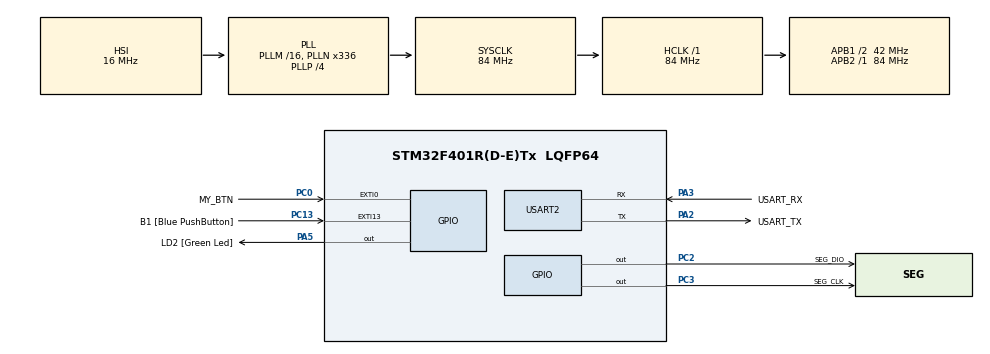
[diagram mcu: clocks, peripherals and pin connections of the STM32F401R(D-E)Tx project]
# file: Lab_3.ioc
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Mcu.Family=STM32F4
Mcu.Name=STM32F401R(D-E)Tx
Mcu.Package=LQFP64
NVIC.EXTI0_IRQn=true\:0\:0\:false\:false\:true\:true\:true\:true
NVIC.PriorityGroup=NVIC_PRIORITYGROUP_0
NVIC.TIM1_UP_TIM10_IRQn=true\:0\:0\:false\:false\:true\:true\:true\:true
PA13.GPIO_Label=TMS
PA13.Mode=Serial_Wire
PA13.Signal=SYS_JTMS-SWDIO
PA14.GPIO_Label=TCK
PA14.Mode=Serial_Wire
PA14.Signal=SYS_JTCK-SWCLK
PA2.GPIO_Label=USART_TX
PA2.GPIO_Mode=GPIO_MODE_AF_PP
PA2.GPIO_PuPd=GPIO_NOPULL
PA2.GPIO_Speed=GPIO_SPEED_FREQ_LOW
PA2.Mode=Asynchronous
PA2.Signal=USART2_TX
PA3.GPIO_Label=USART_RX
PA3.GPIO_Mode=GPIO_MODE_AF_PP
PA3.GPIO_PuPd=GPIO_NOPULL
PA3.GPIO_Speed=GPIO_SPEED_FREQ_LOW
PA3.Mode=Asynchronous
PA3.Signal=USART2_RX
PA5.GPIO_Label=LD2 [Green Led]
PA5.GPIO_Mode=GPIO_MODE_OUTPUT_PP
PA5.GPIO_PuPd=GPIO_NOPULL
PA5.GPIO_Speed=GPIO_SPEED_FREQ_LOW
PA5.Signal=GPIO_Output
PB3.GPIO_Label=SWO
PB3.Signal=SYS_JTDO-SWO
PC0.GPIO_Label=MY_BTN
PC0.GPIO_ModeDefaultEXTI=GPIO_MODE_IT_FALLING
PC0.Signal=GPXTI0
PC13-ANTI_TAMP.GPIO_Label=B1 [Blue PushButton]
PC13-ANTI_TAMP.GPIO_ModeDefaultEXTI=GPIO_MODE_IT_FALLING
PC13-ANTI_TAMP.GPIO_PuPd=GPIO_NOPULL
PC13-ANTI_TAMP.Signal=GPXTI13
PC14-OSC32_IN.Mode=LSE-External-Oscillator
PC14-OSC32_IN.Signal=RCC_OSC32_IN
PC15-OSC32_OUT.Mode=LSE-External-Oscillator
PC15-OSC32_OUT.Signal=RCC_OSC32_OUT
PC2.GPIO_Label=SEG_DIO
PC2.GPIO_ModeDefaultOutputPP=GPIO_MODE_OUTPUT_OD
PC2.GPIO_PuPd=GPIO_NOPULL
PC2.Signal=GPIO_Output
PC3.GPIO_Label=SEG_CLK
PC3.Signal=GPIO_Output
PH0\ -\ OSC_IN.Mode=HSE-External-Clock-Source
PH0\ -\ OSC_IN.Signal=RCC_OSC_IN
PH1\ -\ OSC_OUT.Mode=HSE-External-Clock-Source
PH1\ -\ OSC_OUT.Signal=RCC_OSC_OUT
ProjectManager.HeapSize=0x200
ProjectManager.StackSize=0x400
ProjectManager.TargetToolchain=STM32CubeIDE
RCC.48MHZClocksFreq_Value=48000000
RCC.AHBFreq_Value=84000000
RCC.APB1CLKDivider=RCC_HCLK_DIV2
RCC.APB1Freq_Value=42000000
RCC.APB1TimFreq_Value=84000000
RCC.APB2Freq_Value=84000000
RCC.APB2TimFreq_Value=84000000
RCC.CortexFreq_Value=84000000
RCC.HCLKFreq_Value=84000000
RCC.HSE_VALUE=8000000
RCC.HSI_VALUE=16000000
RCC.PLLN=336
RCC.PLLP=RCC_PLLP_DIV4
RCC.PLLQ=7
RCC.SYSCLKFreq_VALUE=84000000
RCC.SYSCLKSource=RCC_SYSCLKSOURCE_PLLCLK
RCC.VCOOutputFreq_Value=336000000
TIM1.Period=1000-1
TIM1.Prescaler=42000-1
USART2.VirtualMode=VM_ASYNC
VP_TIM1_VS_ClockSourceINT.Mode=Internal
board=NUCLEO-F401RE

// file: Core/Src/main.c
/* USER CODE BEGIN Header */
/**
  ******************************************************************************
  * @file           : main.c
  * @brief          : Main program body
  ******************************************************************************
  * @attention
  *
  * Copyright (c) 2024 STMicroelectronics.
  * All rights reserved.
  *
  * This software is licensed under terms that can be found in the LICENSE file
  * in the root directory of this software component.
  * If no LICENSE file comes with this software, it is provided AS-IS.
  *
  ******************************************************************************
  */
/* USER CODE END Header */
#include "main.h"

/* USER CODE BEGIN Includes */
#include <stdio.h>
#include "quad_sseg.h"
#include <string.h>
/* USER CODE END Includes */

/* USER CODE BEGIN PD */
void uart_print_menu();
int uart_get_menu_choice();
void uart_print_bad_choice();
void clock_mode();
void button_mode();
void update_time_display();
/* USER CODE END PD */

TIM_HandleTypeDef htim1;

UART_HandleTypeDef huart2;

/* USER CODE BEGIN PV */
//uint16_t button_exti_count;
//uint16_t button_debounced_count;
///int unhandled_exti;
uint16_t button_exti_count;
uint16_t button_debounced_count;
uint16_t bounce_count = 0;
int unhandled_exti = 0;
int button_pressed = 0;
uint32_t last_button_press_time = 0;
#define DEBOUNCE_TIME_MS 50 // Max studstid mätt med oscilloskopet
int b1_pressed;

//För timers
// Globala variabler för tid
uint8_t hours = 23;
uint8_t minutes = 59;
uint8_t seconds = 45;
uint8_t half_second_flag = 0;
uint8_t show_hours_mode = 0;
/* USER CODE END PV */

void SystemClock_Config(void);
static void MX_GPIO_Init(void);
static void MX_USART2_UART_Init(void);
static void MX_TIM1_Init(void);

/* USER CODE BEGIN 0 */
void uart_print_menu()
{
	char str[100];
	//uint16_t str_len = 0;

	 sprintf(str,
			"WELCOME TO MENU\r\n "
			"Choose your configuration:\r\n "
			"1. Clock mode.\r\n "
			"2. Button mode\r\n");
	HAL_UART_Transmit(&huart2, (uint8_t*) str, strlen(str), HAL_MAX_DELAY);

	/*printf("WELCOME TO MENU\n");
	printf("Choose your configuration:\n");*/

}

int uart_get_menu_choice()
{
	char str[1] = { '\0' };
	uint16_t str_len = 1;
	HAL_UART_Receive(&huart2, (uint8_t*) str, str_len, HAL_MAX_DELAY);
	int ret = -1;
	sscanf(str, "%d", &ret);

	return ret;
}

void uart_print_bad_choice()
{
	char str[100];

	sprintf(str, "BAD CHOICE!!!\r\n");
	HAL_UART_Transmit(&huart2, (uint8_t*) str, strlen(str), HAL_MAX_DELAY);
}

void clock_mode()
{
    /*** Initieringssegment ***/
    // Starta timern med avbrott
    HAL_TIM_Base_Start_IT(&htim1);

    while (1)
    {

        if (HAL_GPIO_ReadPin(B1_GPIO_Port, B1_Pin) == GPIO_PIN_RESET)
        {
            show_hours_mode = 1;
        }
        else
        {
            show_hours_mode = 0;
        }

        //update
        update_time_display();
    }
}

void HAL_TIM_PeriodElapsedCallback( TIM_HandleTypeDef *htim)
{
    if (htim->Instance == TIM1)
    {
        half_second_flag = !half_second_flag;

        if (half_second_flag == 0)
        {
            seconds++;
            if (seconds >= 60)
            {
                seconds = 0;
                minutes++;
                if (minutes >= 60)
                {
                    minutes = 0;
                    hours++;
                    if (hours >= 24)
                    {
                        hours = 0;
                    }
                }
            }
        }
    }
}

void update_time_display(void)
{
    if (show_hours_mode)
    {
        // Visa HH:MM
        qs_put_digits(hours / 10, hours % 10, minutes / 10, minutes % 10, half_second_flag);
    }
    else
    {
        // Visa MM:SS
        qs_put_digits(minutes / 10, minutes % 10, seconds / 10, seconds % 10, half_second_flag);
    }
}

void button_mode()
{
    /*** init segment ***/
    /*** main loop ***/
    while (1)
    {
        if (unhandled_exti)
        {
            uint32_t current_time = HAL_GetTick();

            // Kontrollera om det har gått tillräckligt med tid sedan senaste knapptryck
            if ((current_time - last_button_press_time) > DEBOUNCE_TIME_MS)
            {
                button_pressed = GPIO_PIN_RESET == HAL_GPIO_ReadPin(MY_BTN_GPIO_Port, MY_BTN_Pin);

                if (button_pressed)
                {
                    button_debounced_count++;  // Räkna avstudsade tryckningar
                }
                last_button_press_time = current_time;
            }
            else
            {
                bounce_count++;  // Räkna studsar om tiden är för kort
            }

            unhandled_exti = 0;
        }

        b1_pressed = GPIO_PIN_RESET == HAL_GPIO_ReadPin(B1_GPIO_Port, B1_Pin);
        // Uppdatera displayen med antal knapptryckningar eller studsar
        if (b1_pressed)
        {
            qs_put_big_num(button_exti_count); // Visa studsar
        }
        else
        {
            qs_put_big_num(button_debounced_count); // Visa avstudsade tryckningar
        }
    }
}

void HAL_GPIO_EXTI_Callback(uint16_t GPIO_Pin)
{
	button_exti_count++;

	unhandled_exti = 1;
}

/* USER CODE END 0 */

int main(void)
{

  /* MCU Configuration--------------------------------------------------------*/

  /* Reset of all peripherals, Initializes the Flash interface and the Systick. */
  HAL_Init();

  /* Configure the system clock */
  SystemClock_Config();

  /* Initialize all configured peripherals */
  MX_GPIO_Init();
  MX_USART2_UART_Init();
  MX_TIM1_Init();
  /* USER CODE BEGIN 2 */
  for (int i=0; i<10; i++)
  {
  uint32_t dly = 250;
  qs_put_big_num(i);      			HAL_Delay(dly);
  qs_put_digits(i, i, i, i, 0); 	HAL_Delay(dly);
  qs_put_digits(i, i, i, i, 1); 	HAL_Delay(dly);
  }

  /* USER CODE END 2 */

  /* Infinite loop */
  /* USER CODE BEGIN WHILE */
  while (1)
  {
	  uart_print_menu();

	  int menu_choice = uart_get_menu_choice();
	  {
		  switch (menu_choice)
		  {
		  case 1:		clock_mode(); 		break;
		  case 2:		button_mode(); 		break;
		  default: uart_print_bad_choice();	break;
		  }
	  }

    /* USER CODE END WHILE */

  }
}

void SystemClock_Config(void)
{
  RCC_OscInitTypeDef RCC_OscInitStruct = {0};
  RCC_ClkInitTypeDef RCC_ClkInitStruct = {0};

  /** Configure the main internal regulator output voltage
  */
  __HAL_RCC_PWR_CLK_ENABLE();
  __HAL_PWR_VOLTAGESCALING_CONFIG(PWR_REGULATOR_VOLTAGE_SCALE2);

  /** Initializes the RCC Oscillators according to the specified parameters
  * in the RCC_OscInitTypeDef structure.
  */
  RCC_OscInitStruct.OscillatorType = RCC_OSCILLATORTYPE_HSI;
  RCC_OscInitStruct.HSIState = RCC_HSI_ON;
  RCC_OscInitStruct.HSICalibrationValue = RCC_HSICALIBRATION_DEFAULT;
  RCC_OscInitStruct.PLL.PLLState = RCC_PLL_ON;
  RCC_OscInitStruct.PLL.PLLSource = RCC_PLLSOURCE_HSI;
  RCC_OscInitStruct.PLL.PLLM = 16;
  RCC_OscInitStruct.PLL.PLLN = 336;
  RCC_OscInitStruct.PLL.PLLP = RCC_PLLP_DIV4;
  RCC_OscInitStruct.PLL.PLLQ = 7;
  if (HAL_RCC_OscConfig(&RCC_OscInitStruct) != HAL_OK)
  {
    Error_Handler();
  }

  /** Initializes the CPU, AHB and APB buses clocks
  */
  RCC_ClkInitStruct.ClockType = RCC_CLOCKTYPE_HCLK|RCC_CLOCKTYPE_SYSCLK
                              |RCC_CLOCKTYPE_PCLK1|RCC_CLOCKTYPE_PCLK2;
  RCC_ClkInitStruct.SYSCLKSource = RCC_SYSCLKSOURCE_PLLCLK;
  RCC_ClkInitStruct.AHBCLKDivider = RCC_SYSCLK_DIV1;
  RCC_ClkInitStruct.APB1CLKDivider = RCC_HCLK_DIV2;
  RCC_ClkInitStruct.APB2CLKDivider = RCC_HCLK_DIV1;

  if (HAL_RCC_ClockConfig(&RCC_ClkInitStruct, FLASH_LATENCY_2) != HAL_OK)
  {
    Error_Handler();
  }
}

static void MX_TIM1_Init(void)
{

  TIM_ClockConfigTypeDef sClockSourceConfig = {0};
  TIM_MasterConfigTypeDef sMasterConfig = {0};

  htim1.Instance = TIM1;
  htim1.Init.Prescaler = 42000-1;
  htim1.Init.CounterMode = TIM_COUNTERMODE_UP;
  htim1.Init.Period = 1000-1;
  htim1.Init.ClockDivision = TIM_CLOCKDIVISION_DIV1;
  htim1.Init.RepetitionCounter = 0;
  htim1.Init.AutoReloadPreload = TIM_AUTORELOAD_PRELOAD_DISABLE;
  if (HAL_TIM_Base_Init(&htim1) != HAL_OK)
  {
    Error_Handler();
  }
  sClockSourceConfig.ClockSource = TIM_CLOCKSOURCE_INTERNAL;
  if (HAL_TIM_ConfigClockSource(&htim1, &sClockSourceConfig) != HAL_OK)
  {
    Error_Handler();
  }
  sMasterConfig.MasterOutputTrigger = TIM_TRGO_RESET;
  sMasterConfig.MasterSlaveMode = TIM_MASTERSLAVEMODE_DISABLE;
  if (HAL_TIMEx_MasterConfigSynchronization(&htim1, &sMasterConfig) != HAL_OK)
  {
    Error_Handler();
  }

}

static void MX_USART2_UART_Init(void)
{

  huart2.Instance = USART2;
  huart2.Init.BaudRate = 115200;
  huart2.Init.WordLength = UART_WORDLENGTH_8B;
  huart2.Init.StopBits = UART_STOPBITS_1;
  huart2.Init.Parity = UART_PARITY_NONE;
  huart2.Init.Mode = UART_MODE_TX_RX;
  huart2.Init.HwFlowCtl = UART_HWCONTROL_NONE;
  huart2.Init.OverSampling = UART_OVERSAMPLING_16;
  if (HAL_UART_Init(&huart2) != HAL_OK)
  {
    Error_Handler();
  }

}

static void MX_GPIO_Init(void)
{
  GPIO_InitTypeDef GPIO_InitStruct = {0};

  /* GPIO Ports Clock Enable */
  __HAL_RCC_GPIOC_CLK_ENABLE();
  __HAL_RCC_GPIOH_CLK_ENABLE();
  __HAL_RCC_GPIOA_CLK_ENABLE();
  __HAL_RCC_GPIOB_CLK_ENABLE();

  /*Configure GPIO pin Output Level */
  HAL_GPIO_WritePin(GPIOC, SEG_DIO_Pin|SEG_CLK_Pin, GPIO_PIN_RESET);

  /*Configure GPIO pin Output Level */
  HAL_GPIO_WritePin(LD2_GPIO_Port, LD2_Pin, GPIO_PIN_RESET);

  /*Configure GPIO pins : B1_Pin MY_BTN_Pin */
  GPIO_InitStruct.Pin = B1_Pin|MY_BTN_Pin;
  GPIO_InitStruct.Mode = GPIO_MODE_IT_FALLING;
  GPIO_InitStruct.Pull = GPIO_NOPULL;
  HAL_GPIO_Init(GPIOC, &GPIO_InitStruct);

  /*Configure GPIO pin : SEG_DIO_Pin */
  GPIO_InitStruct.Pin = SEG_DIO_Pin;
  GPIO_InitStruct.Mode = GPIO_MODE_OUTPUT_OD;
  GPIO_InitStruct.Pull = GPIO_NOPULL;
  GPIO_InitStruct.Speed = GPIO_SPEED_FREQ_LOW;
  HAL_GPIO_Init(SEG_DIO_GPIO_Port, &GPIO_InitStruct);

  /*Configure GPIO pin : SEG_CLK_Pin */
  GPIO_InitStruct.Pin = SEG_CLK_Pin;
  GPIO_InitStruct.Mode = GPIO_MODE_OUTPUT_PP;
  GPIO_InitStruct.Pull = GPIO_NOPULL;
  GPIO_InitStruct.Speed = GPIO_SPEED_FREQ_LOW;
  HAL_GPIO_Init(SEG_CLK_GPIO_Port, &GPIO_InitStruct);

  /*Configure GPIO pin : LD2_Pin */
  GPIO_InitStruct.Pin = LD2_Pin;
  GPIO_InitStruct.Mode = GPIO_MODE_OUTPUT_PP;
  GPIO_InitStruct.Pull = GPIO_NOPULL;
  GPIO_InitStruct.Speed = GPIO_SPEED_FREQ_LOW;
  HAL_GPIO_Init(LD2_GPIO_Port, &GPIO_InitStruct);

  /* EXTI interrupt init*/
  HAL_NVIC_SetPriority(EXTI0_IRQn, 0, 0);
  HAL_NVIC_EnableIRQ(EXTI0_IRQn);

}

void Error_Handler(void)
{
  __disable_irq();
  while (1)
  {
  }
}
